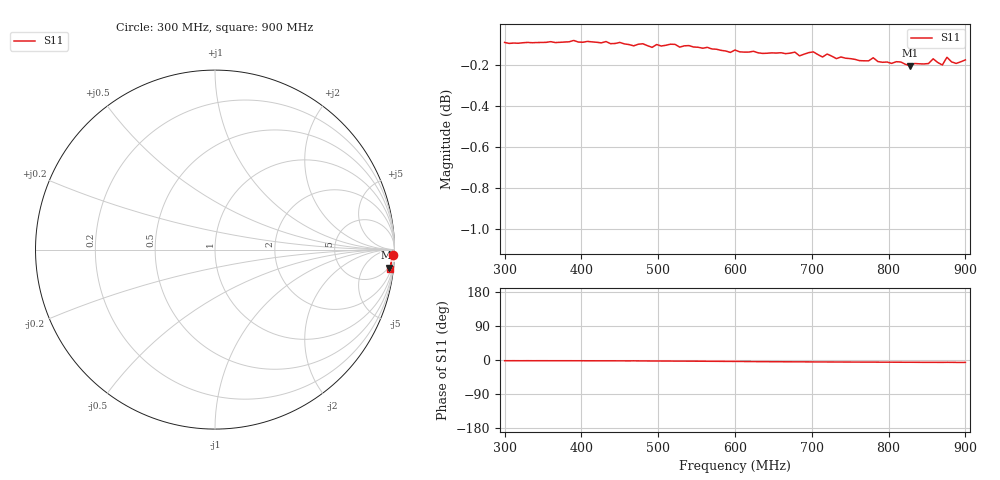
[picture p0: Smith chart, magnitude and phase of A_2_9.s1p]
# HZ S RI R 50
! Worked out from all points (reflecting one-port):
!   101 points, 300 MHz to 900 MHz, reference 50 ohm
!   lowest |S11| = -0.2 dB at 828 MHz (marker M1), VSWR 85.36, Z = 208 - j917 ohm
!   phase of S11 starts at -2 deg and turns -4 deg over the sweep
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3e8  0.9891 -0.0326
3.78e8  0.9893 -0.0333
4.5e8  0.9888 -0.0385
4.62e8  0.9876 -0.0401
4.68e8  0.987 -0.0376
4.8e8  0.988 -0.0417
4.92e8  0.9858 -0.0451
5.16e8  0.9875 -0.0479
5.28e8  0.9857 -0.0505
6e8  0.9833 -0.065
6.48e8  0.9807 -0.0779
6.78e8  0.9807 -0.083
6.84e8  0.9787 -0.0834
7.02e8  0.9805 -0.0875
7.14e8  0.9776 -0.0881
7.2e8  0.9792 -0.0883
7.32e8  0.9765 -0.09
7.5e8  0.9763 -0.0926
7.74e8  0.9748 -0.0956
7.8e8  0.9764 -0.0961
8.28e8  0.9716 -0.101
8.52e8  0.9723 -0.1056
8.58e8  0.9749 -0.1048
8.7e8  0.9713 -0.1072
8.76e8  0.9758 -0.1045
8.88e8  0.972 -0.1083
8.94e8  0.9727 -0.1099
9e8  0.974 -0.1081
